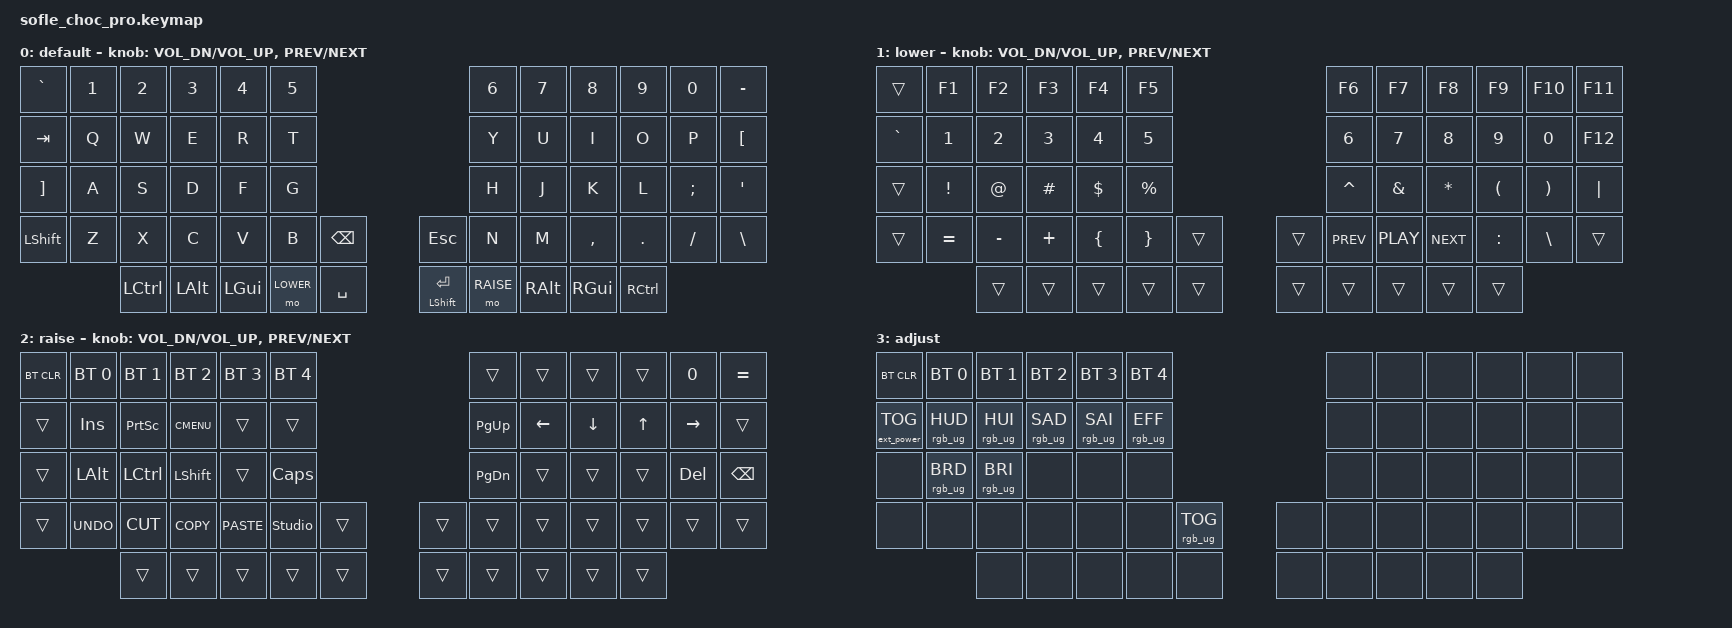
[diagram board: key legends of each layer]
/*
* Copyright (c) 2020 The ZMK Contributors
*
* SPDX-License-Identifier: MIT
*/

#include <behaviors.dtsi>
#include <dt-bindings/zmk/keys.h>
#include <dt-bindings/zmk/bt.h>
#include <dt-bindings/zmk/rgb.h>
#include <dt-bindings/zmk/ext_power.h>

#define BASE 0
#define LOWER 1
#define RAISE 2
#define ADJUST 3

/ {

  // Activate ADJUST layer by pressing raise and lower
  conditional_layers {
    compatible = "zmk,conditional-layers";
    adjust_layer {
      if-layers = <LOWER RAISE>;
      then-layer = <ADJUST>;
    };
  };

  keymap {
    compatible = "zmk,keymap";

    default_layer {
      display-name = "default";
      // TODO hypen equals
      // TODO equals percent
      // ------------------------------------------------------------------------------------------------------------
      // |   `   |  1  |  2  |  3   |  4   |  5   |                   |  6   |  7    |  8    |  9   |   0   | MINUS |
      // |  TAB  |  Q  |  W  |  E   |  R   |  T   |                   |  Y   |  U    |  I    |  O   |   P   | LBKT  |
      // |  RBKT |  A  |  S  |  D   |  F   |  G   |                   |  H   |  J    |  K    |  L   |   ;   |   '   |
      // | SHIFT |  Z  |  X  |  C   |  V   |  B   |  BKSPC |  | ESC   |  N   |  M    |  ,    |  .   |   /   | BSLH  |
      //               | CTRL | ALT  | GUI | LOWER|  SPACE |  | RET   | RAISE| ALT   | GUI   | CTRL |
      bindings = <
        &kp GRAVE &kp N1 &kp N2   &kp N3   &kp N4    &kp N5                           &kp N6 &kp N7    &kp N8    &kp N9   &kp N0   &kp MINUS
        &kp TAB   &kp Q  &kp W    &kp E    &kp R     &kp T                            &kp Y  &kp U     &kp I     &kp O    &kp P    &kp LBKT
        &kp RBKT  &kp A  &kp S    &kp D    &kp F     &kp G                            &kp H  &kp J     &kp K     &kp L    &kp SEMI &kp SQT
        &kp LSHFT &kp Z  &kp X    &kp C    &kp V     &kp B   &kp BSPC   &kp ESC       &kp N  &kp M     &kp COMMA &kp DOT  &kp FSLH &kp BSLH
        &kp LCTRL &kp LALT &kp LGUI &mo LOWER  &kp SPACE    &mt LSHFT RET  &mo RAISE  &kp RALT &kp RGUI  &kp RCTRL
      >;
      sensor-bindings = <&inc_dec_kp C_VOL_DN C_VOL_UP &inc_dec_kp C_PREV C_NEXT>;
    };

    lower_layer {
      display-name = "lower";
      // ------------------------------------------------------------------------------------------------------------
      // |       |  F1 |  F2 |  F3  |  F4  |  F5  |                   |  F6  |  F7   |  F8   |  F9  |  F10  |  F11  |
      // |   `   |  1  |  2  |  3   |  4   |  5   |                   |  6   |  7    |  8    |  9   |   0   |  F12  |
      // |       |  !  |  @  |  #   |  $   |  %   |                   |  ^   |  &    |  *    |  (   |   )   |   |   |
      // |       |  =  |  -  |  +   |  {   |  }   |        |  |       |  [   |  ]    |  ;    |  :   |   \   |       |
      //               |     |      |      |      |        |  |       |      |       |       |      |
      bindings = <
        &trans    &kp F1    &kp F2    &kp F3      &kp F4    &kp F5                    &kp F6    &kp F7   &kp F8    &kp F9    &kp F10   &kp F11
        &kp GRAVE &kp N1    &kp N2    &kp N3      &kp N4    &kp N5                    &kp N6    &kp N7   &kp N8    &kp N9    &kp N0    &kp F12
        &trans    &kp EXCL  &kp AT    &kp HASH    &kp DLLR  &kp PRCNT                 &kp CARET &kp AMPS &kp ASTRK &kp LPAR  &kp RPAR  &kp PIPE
        &trans    &kp EQUAL &kp MINUS &kp PLUS &kp LBRC  &kp RBRC   &trans &trans  &kp C_PREV  &kp C_PLAY &kp C_NEXT  &kp COLON &kp BSLH  &trans
        &trans    &trans      &trans    &trans     &trans &trans  &trans    &trans   &trans    &trans
      >;

      sensor-bindings = <&inc_dec_kp C_VOL_DN C_VOL_UP &inc_dec_kp C_PREV C_NEXT>;
    };

    raise_layer {
      display-name = "raise";
      // ------------------------------------------------------------------------------------------------------------
      // | BTCLR | BT1  | BT2  |  BT3  |  BT4  |  BT5 |                |      |      |       |      |       | EQUAL |
      // |       | INS  | PSCR | GUI   |       |      |                | PGUP |   <- |   v   |  ^   |  ->   |       |
      // |       | ALT  | CTRL | SHIFT |       | CAPS |                | PGDN |      |       |      |  DEL  | BKSPC |
      // |       | UNDO | CUT  | COPY  | PASTE |      |      |  |      |      |      |       |      |       |       |
      //                |      |       |       |      |      |  |      |      |      |       |      |
      bindings = <
        &bt BT_CLR &bt BT_SEL 0 &bt BT_SEL 1 &bt BT_SEL 2 &bt BT_SEL 3 &bt BT_SEL 4                  &trans    &trans    &trans   &trans    &kp N0    &kp EQUAL
        &trans     &kp INS      &kp PSCRN    &kp K_CMENU  &trans       &trans                        &kp PG_UP &kp LEFT  &kp DOWN &kp UP    &kp RIGHT &trans
        &trans     &kp LALT     &kp LCTRL    &kp LSHFT    &trans       &kp CLCK                      &kp PG_DN &trans    &trans   &trans    &kp DEL   &kp BSPC
        &trans     &kp K_UNDO   &kp K_CUT    &kp K_COPY   &kp K_PASTE  &studio_unlock        &trans  &trans    &trans    &trans   &trans    &trans    &trans  &trans
        &trans       &trans       &trans       &trans        &trans  &trans  &trans    &trans    &trans   &trans
      >;

      sensor-bindings = <&inc_dec_kp C_VOL_DN C_VOL_UP &inc_dec_kp C_PREV C_NEXT>;
    };

    adjust_layer {
      // ----------------------------------------------------------------------------------------------------------------------------
      // | BTCLR  |  BT1    |  BT2    |   BT3   |   BT4   |   BT5   |                  |      |      |       |      |       |       |
      // | EXTPWR | RGB_HUD | RGB_HUI | RGB_SAD | RGB_SAI | RGB_EFF |                  |      |      |       |      |       |       |
      // |        | RGB_BRD | RGB_BRI |         |         |         |                  |      |      |       |      |       |       |
      // |        |         |         |         |         |         | RGB_TOG | |      |      |      |       |      |       |       |
      //                    |         |         |         |         |         | |      |      |      |       |      |
      display-name = "adjust";
      bindings = <
        &bt BT_CLR        &bt BT_SEL 0    &bt BT_SEL 1    &bt BT_SEL 2    &bt BT_SEL 3    &bt BT_SEL 4                            &none &none &none &none &none &none
        &ext_power EP_TOG &rgb_ug RGB_HUD &rgb_ug RGB_HUI &rgb_ug RGB_SAD &rgb_ug RGB_SAI &rgb_ug RGB_EFF                         &none &none &none &none &none &none
        &none             &rgb_ug RGB_BRD &rgb_ug RGB_BRI &none           &none           &none                                   &none &none &none &none &none &none
        &none             &none           &none           &none           &none           &none            &rgb_ug RGB_TOG &none  &none &none &none &none &none &none
        &none           &none           &none           &none            &none           &none  &none &none &none &none
      >;
    };
  };
};
